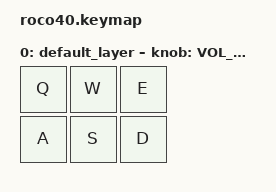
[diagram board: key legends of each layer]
#include <behaviors.dtsi>
#include <dt-bindings/zmk/keys.h>

/ {
    keymap {
        compatible = "zmk,keymap";

        default_layer {
            bindings = <
                &kp Q    &kp W    &kp E
                &kp A    &kp S    &kp D
            >;

            sensor-bindings = <&inc_dec_kp C_VOL_UP C_VOL_DN &inc_dec_kp A B>;
        };
    };
};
